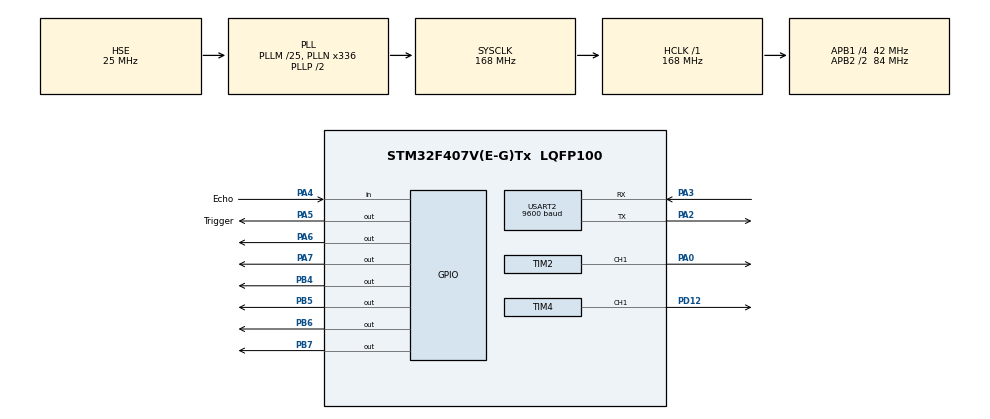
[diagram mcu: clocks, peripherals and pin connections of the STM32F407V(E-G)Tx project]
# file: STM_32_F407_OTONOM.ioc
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Mcu.Family=STM32F4
Mcu.Name=STM32F407V(E-G)Tx
Mcu.Package=LQFP100
NVIC.PriorityGroup=NVIC_PRIORITYGROUP_4
NVIC.TIM2_IRQn=true\:0\:0\:false\:false\:true\:true\:true\:true
NVIC.TIM4_IRQn=true\:0\:0\:false\:false\:true\:true\:true\:true
NVIC.USART2_IRQn=true\:0\:0\:false\:false\:true\:true\:true\:true
PA0-WKUP.Signal=S_TIM2_CH1_ETR
PA13.Mode=Serial_Wire
PA13.Signal=SYS_JTMS-SWDIO
PA14.Mode=Serial_Wire
PA14.Signal=SYS_JTCK-SWCLK
PA2.Mode=Asynchronous
PA2.Signal=USART2_TX
PA3.Mode=Asynchronous
PA3.Signal=USART2_RX
PA4.GPIO_Label=Echo
PA4.Signal=GPIO_Input
PA5.GPIO_Label=Trigger
PA5.Signal=GPIO_Output
PA6.Signal=GPIO_Output
PA7.Signal=GPIO_Output
PB4.Signal=GPIO_Output
PB5.Signal=GPIO_Output
PB6.Signal=GPIO_Output
PB7.Signal=GPIO_Output
PD12.Signal=S_TIM4_CH1
PH0-OSC_IN.Mode=HSE-External-Oscillator
PH0-OSC_IN.Signal=RCC_OSC_IN
PH1-OSC_OUT.Mode=HSE-External-Oscillator
PH1-OSC_OUT.Signal=RCC_OSC_OUT
ProjectManager.HeapSize=0x200
ProjectManager.StackSize=0x400
ProjectManager.TargetToolchain=STM32CubeIDE
RCC.48MHZClocksFreq_Value=84000000
RCC.AHBFreq_Value=168000000
RCC.APB1CLKDivider=RCC_HCLK_DIV4
RCC.APB1Freq_Value=42000000
RCC.APB1TimFreq_Value=84000000
RCC.APB2CLKDivider=RCC_HCLK_DIV2
RCC.APB2Freq_Value=84000000
RCC.APB2TimFreq_Value=168000000
RCC.CortexFreq_Value=168000000
RCC.HCLKFreq_Value=168000000
RCC.HSE_VALUE=25000000
RCC.HSI_VALUE=16000000
RCC.LSE_VALUE=32768
RCC.PLLM=25
RCC.PLLN=336
RCC.PLLSourceVirtual=RCC_PLLSOURCE_HSE
RCC.SYSCLKFreq_VALUE=168000000
RCC.SYSCLKSource=RCC_SYSCLKSOURCE_PLLCLK
RCC.VCOOutputFreq_Value=336000000
SH.S_TIM2_CH1_ETR.0=TIM2_CH1,PWM Generation1 CH1
SH.S_TIM4_CH1.0=TIM4_CH1,PWM Generation1 CH1
TIM2.Channel-PWM\ Generation1\ CH1=TIM_CHANNEL_1
TIM2.Period=65535-1
TIM2.Prescaler=168-1
TIM4.Channel-PWM\ Generation1\ CH1=TIM_CHANNEL_1
TIM4.Period=1000-1
TIM4.Prescaler=900-1
USART2.BaudRate=9600
USART2.VirtualMode=VM_ASYNC
VP_TIM1_VS_ClockSourceINT.Mode=Internal
VP_TIM2_VS_ClockSourceINT.Mode=Internal
VP_TIM4_VS_ClockSourceINT.Mode=Internal
board=custom

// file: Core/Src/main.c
/* USER CODE BEGIN Header */
/**
  ******************************************************************************
  * @file           : main.c
  * @brief          : Main program body
  ******************************************************************************
  * @attention
  *
  * Copyright (c) 2023 STMicroelectronics.
  * All rights reserved.
  *
  * This software is licensed under terms that can be found in the LICENSE file
  * in the root directory of this software component.
  * If no LICENSE file comes with this software, it is provided AS-IS.
  *
  ******************************************************************************
  */
/* USER CODE END Header */
#include "main.h"

TIM_HandleTypeDef htim1;
TIM_HandleTypeDef htim2;
TIM_HandleTypeDef htim4;

UART_HandleTypeDef huart2;

/* USER CODE BEGIN PV */
uint32_t sensor_time;
float distance = 0;

/* USER CODE END PV */

void SystemClock_Config(void);
static void MX_GPIO_Init(void);
static void MX_TIM4_Init(void);
static void MX_TIM2_Init(void);
static void MX_USART2_UART_Init(void);
static void MX_TIM1_Init(void);
/* USER CODE BEGIN PFP */
void delay(uint16_t us)
{
	__HAL_TIM_SET_COUNTER(&htim2,0);
	while(__HAL_TIM_GET_COUNTER(&htim2) < us);
}

float Sensor_Read()
{
	uint32_t time =0;

	HAL_GPIO_WritePin(Trigger_GPIO_Port, Trigger_Pin, GPIO_PIN_RESET);
	delay(2);
	HAL_GPIO_WritePin(Trigger_GPIO_Port, Trigger_Pin, GPIO_PIN_SET);
    delay(10);
    HAL_GPIO_WritePin(Trigger_GPIO_Port, Trigger_Pin, GPIO_PIN_RESET);

    while(!HAL_GPIO_ReadPin(Echo_GPIO_Port, Echo_Pin));
    while(HAL_GPIO_ReadPin(Echo_GPIO_Port, Echo_Pin))
    {
    	time++;
    	delay(1);
    }
	return time;
}

/* USER CODE END PFP */

int main(void)
{

  /* MCU Configuration--------------------------------------------------------*/

  /* Reset of all peripherals, Initializes the Flash interface and the Systick. */
  HAL_Init();

  /* Configure the system clock */
  SystemClock_Config();

  /* Initialize all configured peripherals */
  MX_GPIO_Init();
  MX_TIM4_Init();
  MX_TIM2_Init();
  MX_USART2_UART_Init();
  MX_TIM1_Init();
  /* USER CODE BEGIN 2 */

  HAL_TIM_PWM_Start(&htim4, TIM_CHANNEL_1);
  HAL_TIM_Base_Start(&htim2);

  /* USER CODE END 2 */

  /* Infinite loop */
  /* USER CODE BEGIN WHILE */
  while (1)
  {

	      sensor_time = Sensor_Read();
          distance = sensor_time * .034/2;

          HAL_GPIO_WritePin(GPIOB, GPIO_PIN_6, SET);

          HAL_GPIO_WritePin(GPIOB, GPIO_PIN_5, SET);

	      htim4.Instance->CCR1 = 10;

	  	  if(distance < 8)
	  	  {
	  		HAL_GPIO_WritePin(GPIOB, GPIO_PIN_7, RESET);
	  		HAL_GPIO_WritePin(GPIOB, GPIO_PIN_6, RESET);
	  		HAL_GPIO_WritePin(GPIOB, GPIO_PIN_4, RESET);
	  	    HAL_GPIO_WritePin(GPIOB, GPIO_PIN_5, RESET);
	  	    HAL_Delay(10);

	  	    HAL_GPIO_WritePin(GPIOA, GPIO_PIN_7, SET);
	  	    HAL_GPIO_WritePin(GPIOA, GPIO_PIN_6, SET);

	  	    HAL_GPIO_WritePin(GPIOB, GPIO_PIN_4, SET);
	  	    HAL_Delay(10);
	  	    HAL_GPIO_WritePin(GPIOB, GPIO_PIN_4, SET);

	  	  }

	  	    HAL_GPIO_WritePin(GPIOA, GPIO_PIN_7, RESET);
	  	    HAL_GPIO_WritePin(GPIOA, GPIO_PIN_6, RESET);

		    HAL_GPIO_WritePin(GPIOB, GPIO_PIN_4, RESET);
	  		HAL_GPIO_WritePin(GPIOB, GPIO_PIN_6, SET);
	  	    HAL_GPIO_WritePin(GPIOB, GPIO_PIN_5, SET);

	  	  htim4.Instance->CCR1 = 20;

	  	  sensor_time = Sensor_Read();
	      distance = sensor_time * .034/2;

//	      htim4.Instance->CCR1 = 10;
	 	  HAL_Delay(50);
		  if(distance < 8)
		  	  {
		  		HAL_GPIO_WritePin(GPIOB, GPIO_PIN_7, RESET);
		  		HAL_GPIO_WritePin(GPIOB, GPIO_PIN_6, RESET);
		  		HAL_GPIO_WritePin(GPIOB, GPIO_PIN_4, RESET);
		  	    HAL_GPIO_WritePin(GPIOB, GPIO_PIN_5, RESET);

		  	    HAL_GPIO_WritePin(GPIOB, GPIO_PIN_4, SET);

		  	    HAL_GPIO_WritePin(GPIOA, GPIO_PIN_7, SET);
		  	    HAL_GPIO_WritePin(GPIOA, GPIO_PIN_6, SET);

		  	  }

		    HAL_GPIO_WritePin(GPIOB, GPIO_PIN_4, RESET);
	  		HAL_GPIO_WritePin(GPIOB, GPIO_PIN_6, SET);
	  	    HAL_GPIO_WritePin(GPIOB, GPIO_PIN_5, SET);

	  	    HAL_GPIO_WritePin(GPIOA, GPIO_PIN_7, RESET);
	  	    HAL_GPIO_WritePin(GPIOA, GPIO_PIN_6, RESET);

	  	  htim4.Instance->CCR1 = 30;

	  	  sensor_time = Sensor_Read();
	      distance = sensor_time * .034/2;

	 	  htim4.Instance->CCR1 = 30;
	 	  HAL_Delay(50);

		  if(distance < 8)
		  	  {
		  		HAL_GPIO_WritePin(GPIOB, GPIO_PIN_7, RESET);
		  		HAL_GPIO_WritePin(GPIOB, GPIO_PIN_6, RESET);
		  		HAL_GPIO_WritePin(GPIOB, GPIO_PIN_4, RESET);
		  	    HAL_GPIO_WritePin(GPIOB, GPIO_PIN_5, RESET);

		  	    HAL_GPIO_WritePin(GPIOB, GPIO_PIN_4, SET);

		  	    HAL_GPIO_WritePin(GPIOA, GPIO_PIN_7, SET);
		  	    HAL_GPIO_WritePin(GPIOA, GPIO_PIN_6, SET);

		  	  }
		    HAL_GPIO_WritePin(GPIOB, GPIO_PIN_4, RESET);
	  		HAL_GPIO_WritePin(GPIOB, GPIO_PIN_6, SET);
	  	    HAL_GPIO_WritePin(GPIOB, GPIO_PIN_5, SET);

	  	    HAL_GPIO_WritePin(GPIOA, GPIO_PIN_7, RESET);
	  	    HAL_GPIO_WritePin(GPIOA, GPIO_PIN_6, RESET);

	  	  htim4.Instance->CCR1 = 30;

	  	  sensor_time = Sensor_Read();
	  	  distance = sensor_time * .034/2;

	  	  htim4.Instance->CCR1 = 30;
	      HAL_Delay(50);

		  if(distance < 8)
		  	  {
		  		HAL_GPIO_WritePin(GPIOB, GPIO_PIN_7, RESET);
		  		HAL_GPIO_WritePin(GPIOB, GPIO_PIN_6, RESET);
		  		HAL_GPIO_WritePin(GPIOB, GPIO_PIN_4, RESET);
		  	    HAL_GPIO_WritePin(GPIOB, GPIO_PIN_5, RESET);

		  	    HAL_GPIO_WritePin(GPIOA, GPIO_PIN_7, SET);
		  	    HAL_GPIO_WritePin(GPIOA, GPIO_PIN_6, SET);

		  	    HAL_GPIO_WritePin(GPIOB, GPIO_PIN_4, SET);
		  	    HAL_Delay(10);

		  	  }

	  	    HAL_GPIO_WritePin(GPIOA, GPIO_PIN_7, RESET);
	  	    HAL_GPIO_WritePin(GPIOA, GPIO_PIN_6, RESET);

		    HAL_GPIO_WritePin(GPIOB, GPIO_PIN_4, RESET);
	  		HAL_GPIO_WritePin(GPIOB, GPIO_PIN_6, SET);
	  	    HAL_GPIO_WritePin(GPIOB, GPIO_PIN_5, SET);

	  	  htim4.Instance->CCR1 = 40;
	  	  sensor_time = Sensor_Read();
	      distance = sensor_time * .034/2;

	 	  htim4.Instance->CCR1 = 40;
	 	  HAL_Delay(10);

	 	 if(distance < 8)
	 		  	  {
	 		  		HAL_GPIO_WritePin(GPIOB, GPIO_PIN_7, RESET);
	 		  		HAL_GPIO_WritePin(GPIOB, GPIO_PIN_6, RESET);
	 		  		HAL_GPIO_WritePin(GPIOB, GPIO_PIN_4, RESET);
	 		  	    HAL_GPIO_WritePin(GPIOB, GPIO_PIN_5, RESET);

			  	    HAL_GPIO_WritePin(GPIOA, GPIO_PIN_6, SET);
			  	    HAL_GPIO_WritePin(GPIOA, GPIO_PIN_7, SET);

	 		  	    HAL_GPIO_WritePin(GPIOB, GPIO_PIN_4, SET);
	 		  	    HAL_Delay(100);
	 		  	    HAL_GPIO_WritePin(GPIOB, GPIO_PIN_4, SET);

	 		  	  }

		            HAL_GPIO_WritePin(GPIOB, GPIO_PIN_4, RESET);
	 		  		HAL_GPIO_WritePin(GPIOB, GPIO_PIN_6, SET);
	 		  	    HAL_GPIO_WritePin(GPIOB, GPIO_PIN_5, SET);

			  	    HAL_GPIO_WritePin(GPIOA, GPIO_PIN_7, RESET);
			  	    HAL_GPIO_WritePin(GPIOA, GPIO_PIN_6, RESET);

		  htim4.Instance->CCR1 = 40;
	  	  sensor_time = Sensor_Read();
	      distance = sensor_time * .034/2;

	      if(distance < 8)
	     	  	  {
	     	  		HAL_GPIO_WritePin(GPIOB, GPIO_PIN_7, RESET);
	     	  		HAL_GPIO_WritePin(GPIOB, GPIO_PIN_6, RESET);
	     	  		HAL_GPIO_WritePin(GPIOB, GPIO_PIN_4, RESET);
	     	  	    HAL_GPIO_WritePin(GPIOB, GPIO_PIN_5, RESET);

			  	    HAL_GPIO_WritePin(GPIOA, GPIO_PIN_6, SET);
			  	    HAL_GPIO_WritePin(GPIOA, GPIO_PIN_7, SET);

	    	  	    HAL_GPIO_WritePin(GPIOB, GPIO_PIN_4, SET);
	    	  	    HAL_Delay(100);
	     	  	    HAL_GPIO_WritePin(GPIOB, GPIO_PIN_4, SET);

	     	  	  }

	  	            HAL_GPIO_WritePin(GPIOA, GPIO_PIN_7, RESET);
	  	            HAL_GPIO_WritePin(GPIOA, GPIO_PIN_6, RESET);

		            HAL_GPIO_WritePin(GPIOB, GPIO_PIN_4, RESET);
	     	  		HAL_GPIO_WritePin(GPIOB, GPIO_PIN_6, SET);
	     	  	    HAL_GPIO_WritePin(GPIOB, GPIO_PIN_5, SET);

	 	  htim4.Instance->CCR1 = 50;
	 	  HAL_Delay(10);

		  if(distance < 8)
		  	  {
		  		HAL_GPIO_WritePin(GPIOB, GPIO_PIN_6, RESET);
		  	    HAL_GPIO_WritePin(GPIOB, GPIO_PIN_5, RESET);
		  	    HAL_Delay(100);

		  	    HAL_GPIO_WritePin(GPIOA, GPIO_PIN_6, SET);
		  	    HAL_GPIO_WritePin(GPIOA, GPIO_PIN_7, SET);

		  	    HAL_GPIO_WritePin(GPIOB, GPIO_PIN_4, SET);
		  	    HAL_Delay(100);
		  	    HAL_GPIO_WritePin(GPIOB, GPIO_PIN_4, SET);

		  	  }
	  	    HAL_GPIO_WritePin(GPIOA, GPIO_PIN_7, RESET);
	  	    HAL_GPIO_WritePin(GPIOA, GPIO_PIN_6, RESET);

	  		HAL_GPIO_WritePin(GPIOB, GPIO_PIN_6, SET);
		    HAL_GPIO_WritePin(GPIOB, GPIO_PIN_4, RESET);
	  	    HAL_GPIO_WritePin(GPIOB, GPIO_PIN_5, SET);

	  	  htim4.Instance->CCR1 = 60;
	  	  sensor_time = Sensor_Read();
	      distance = sensor_time * .034/2;

	 	  htim4.Instance->CCR1 = 60;
	 	  HAL_Delay(10);
		  if(distance < 8)
		  	  {
		  		HAL_GPIO_WritePin(GPIOB, GPIO_PIN_6, RESET);
		  	    HAL_GPIO_WritePin(GPIOB, GPIO_PIN_5, RESET);
		  	    HAL_Delay(100);

		  	    HAL_GPIO_WritePin(GPIOA, GPIO_PIN_6, SET);
		  	    HAL_GPIO_WritePin(GPIOA, GPIO_PIN_7, SET);

		  	    HAL_GPIO_WritePin(GPIOB, GPIO_PIN_4, SET);
		  	    HAL_Delay(100);
		  	    HAL_GPIO_WritePin(GPIOB, GPIO_PIN_4, SET);

		  	  }
	  	    HAL_GPIO_WritePin(GPIOA, GPIO_PIN_7, RESET);
	  	    HAL_GPIO_WritePin(GPIOA, GPIO_PIN_6, RESET);

		    HAL_GPIO_WritePin(GPIOB, GPIO_PIN_4, RESET);
	  		HAL_GPIO_WritePin(GPIOB, GPIO_PIN_6, SET);
	  	    HAL_GPIO_WritePin(GPIOB, GPIO_PIN_5, SET);

	  	  htim4.Instance->CCR1 = 70;

	  	  sensor_time = Sensor_Read();
	      distance = sensor_time * .034/2;

	 	  htim4.Instance->CCR1 = 70;
	 	  HAL_Delay(50);
		  if(distance < 8)
		  	  {
		  		HAL_GPIO_WritePin(GPIOB, GPIO_PIN_7, RESET);
		  		HAL_GPIO_WritePin(GPIOB, GPIO_PIN_6, RESET);
		  		HAL_GPIO_WritePin(GPIOB, GPIO_PIN_4, RESET);
		  	    HAL_GPIO_WritePin(GPIOB, GPIO_PIN_5, RESET);
		  	    HAL_Delay(100);

		  	    HAL_GPIO_WritePin(GPIOA, GPIO_PIN_6, SET);
		  	    HAL_GPIO_WritePin(GPIOA, GPIO_PIN_7, SET);

		  	    HAL_GPIO_WritePin(GPIOB, GPIO_PIN_4, SET);
		  	    HAL_Delay(100);
		  	    HAL_GPIO_WritePin(GPIOB, GPIO_PIN_4, SET);

		  	  }

	  	    HAL_GPIO_WritePin(GPIOA, GPIO_PIN_7, RESET);
	  	    HAL_GPIO_WritePin(GPIOA, GPIO_PIN_6, RESET);

		    HAL_GPIO_WritePin(GPIOB, GPIO_PIN_4, RESET);
	  		HAL_GPIO_WritePin(GPIOB, GPIO_PIN_6, SET);
	  	    HAL_GPIO_WritePin(GPIOB, GPIO_PIN_5, SET);

	  	  htim4.Instance->CCR1 = 70;
	  	  sensor_time = Sensor_Read();
	      distance = sensor_time * .034/2;

	  	  sensor_time = Sensor_Read();
	      distance = sensor_time * .034/2;

	  	  htim4.Instance->CCR1 = 60;
	  	  HAL_Delay(10);

	  	  sensor_time = Sensor_Read();
	      distance = sensor_time * .034/2;

	      if(distance < 8)
	     	  	  {
	     	  		HAL_GPIO_WritePin(GPIOB, GPIO_PIN_7, RESET);
	     	  		HAL_GPIO_WritePin(GPIOB, GPIO_PIN_6, RESET);
	     	  		HAL_GPIO_WritePin(GPIOB, GPIO_PIN_4, RESET);
	     	  	    HAL_GPIO_WritePin(GPIOB, GPIO_PIN_5, RESET);
	     	  	    HAL_Delay(100);

			  	    HAL_GPIO_WritePin(GPIOA, GPIO_PIN_6, SET);
			  	    HAL_GPIO_WritePin(GPIOA, GPIO_PIN_7, SET);

	    	  	    HAL_GPIO_WritePin(GPIOB, GPIO_PIN_4, SET);
	    	  	    HAL_Delay(100);
	     	  	    HAL_GPIO_WritePin(GPIOB, GPIO_PIN_4, SET);

	     	  	  }
	  	           HAL_GPIO_WritePin(GPIOA, GPIO_PIN_7, RESET);
	  	           HAL_GPIO_WritePin(GPIOA, GPIO_PIN_6, RESET);

		            HAL_GPIO_WritePin(GPIOB, GPIO_PIN_4, RESET);
	     	  		HAL_GPIO_WritePin(GPIOB, GPIO_PIN_6, SET);
	     	  	    HAL_GPIO_WritePin(GPIOB, GPIO_PIN_5, SET);

	  	  HAL_Delay(50 );
	  	  htim4.Instance->CCR1 = 50;

	  	  sensor_time = Sensor_Read();
	      distance = sensor_time * .034/2;

	      if(distance < 8)
	     	  	  {
	     	  		HAL_GPIO_WritePin(GPIOB, GPIO_PIN_7, RESET);
	     	  		HAL_GPIO_WritePin(GPIOB, GPIO_PIN_6, RESET);
	     	  		HAL_GPIO_WritePin(GPIOB, GPIO_PIN_4, RESET);
	     	  	    HAL_GPIO_WritePin(GPIOB, GPIO_PIN_5, RESET);
	     	  	    HAL_Delay(100);

			  	    HAL_GPIO_WritePin(GPIOA, GPIO_PIN_6, SET);
			  	    HAL_GPIO_WritePin(GPIOA, GPIO_PIN_7, SET);

	    	  	    HAL_GPIO_WritePin(GPIOB, GPIO_PIN_4, SET);
	    	  	    HAL_Delay(100);
	     	  	    HAL_GPIO_WritePin(GPIOB, GPIO_PIN_4, SET);

	     	  	  }

	  	           HAL_GPIO_WritePin(GPIOA, GPIO_PIN_7, RESET);
	  	           HAL_GPIO_WritePin(GPIOA, GPIO_PIN_6, RESET);

		           HAL_GPIO_WritePin(GPIOB, GPIO_PIN_4, RESET);
	     	  	   HAL_GPIO_WritePin(GPIOB, GPIO_PIN_6, SET);
	     	  	   HAL_GPIO_WritePin(GPIOB, GPIO_PIN_5, SET);

	  	  HAL_Delay(50);
	   	  htim4.Instance->CCR1 = 40;

	 	  sensor_time = Sensor_Read();
		  distance = sensor_time * .034/2;

		  if(distance < 8)
		  	  {
		  		HAL_GPIO_WritePin(GPIOB, GPIO_PIN_7, RESET);
		  		HAL_GPIO_WritePin(GPIOB, GPIO_PIN_6, RESET);
		  		HAL_GPIO_WritePin(GPIOB, GPIO_PIN_4, RESET);
		  	    HAL_GPIO_WritePin(GPIOB, GPIO_PIN_5, RESET);
		  	    HAL_Delay(100);

		  	    HAL_GPIO_WritePin(GPIOA, GPIO_PIN_6, SET);
		  	    HAL_GPIO_WritePin(GPIOA, GPIO_PIN_7, SET);

		  	    HAL_GPIO_WritePin(GPIOB, GPIO_PIN_4, SET);
		  	    HAL_Delay(100);
		  	    HAL_GPIO_WritePin(GPIOB, GPIO_PIN_4, SET);

		  	  }
	  	    HAL_GPIO_WritePin(GPIOA, GPIO_PIN_7, RESET);
	  	    HAL_GPIO_WritePin(GPIOA, GPIO_PIN_6, RESET);

		    HAL_GPIO_WritePin(GPIOB, GPIO_PIN_4, RESET);
	  		HAL_GPIO_WritePin(GPIOB, GPIO_PIN_6, SET);
	  	    HAL_GPIO_WritePin(GPIOB, GPIO_PIN_5, SET);

	  	  sensor_time = Sensor_Read();
	      distance = sensor_time * .034/2;

	   	  htim4.Instance->CCR1 = 20;
	   	  HAL_Delay(50);

	   	 if(distance < 8)
	   		  	  {
	   		  		HAL_GPIO_WritePin(GPIOB, GPIO_PIN_7, RESET);
	   		  		HAL_GPIO_WritePin(GPIOB, GPIO_PIN_6, RESET);
	   		  		HAL_GPIO_WritePin(GPIOB, GPIO_PIN_4, RESET);
	   		  	    HAL_GPIO_WritePin(GPIOB, GPIO_PIN_5, RESET);
	   		  	    HAL_Delay(100);

			  	    HAL_GPIO_WritePin(GPIOA, GPIO_PIN_6, SET);
			  	    HAL_GPIO_WritePin(GPIOA, GPIO_PIN_7, SET);

	   		  	    HAL_GPIO_WritePin(GPIOB, GPIO_PIN_4, SET);
	   		  	    HAL_Delay(100);
	   		  	    HAL_GPIO_WritePin(GPIOB, GPIO_PIN_4, SET);

	   		  	  }
	  	            HAL_GPIO_WritePin(GPIOA, GPIO_PIN_7, RESET);
	  	            HAL_GPIO_WritePin(GPIOA, GPIO_PIN_6, RESET);

		            HAL_GPIO_WritePin(GPIOB, GPIO_PIN_4, RESET);
	   		  		HAL_GPIO_WritePin(GPIOB, GPIO_PIN_6, SET);
	   		  	    HAL_GPIO_WritePin(GPIOB, GPIO_PIN_5, SET);

	  	  sensor_time = Sensor_Read();
	      distance = sensor_time * .034/2;

	   	  htim4.Instance->CCR1 = 10;
	   	  HAL_Delay(10);

		  if(distance < 8)
		  	  {
		  		HAL_GPIO_WritePin(GPIOB, GPIO_PIN_7, RESET);
		  		HAL_GPIO_WritePin(GPIOB, GPIO_PIN_6, RESET);
		  		HAL_GPIO_WritePin(GPIOB, GPIO_PIN_4, RESET);
		  	    HAL_GPIO_WritePin(GPIOB, GPIO_PIN_5, RESET);
		  	    HAL_Delay(100);

		  	    HAL_GPIO_WritePin(GPIOA, GPIO_PIN_7, SET);
		  	    HAL_GPIO_WritePin(GPIOA, GPIO_PIN_6, SET);

		  	    HAL_GPIO_WritePin(GPIOB, GPIO_PIN_4, SET);
		  	    HAL_Delay(100);
		  	    HAL_GPIO_WritePin(GPIOB, GPIO_PIN_4, SET);

		  	  }
	  	    HAL_GPIO_WritePin(GPIOA, GPIO_PIN_7, RESET);
	  	    HAL_GPIO_WritePin(GPIOA, GPIO_PIN_6, RESET);

		    HAL_GPIO_WritePin(GPIOB, GPIO_PIN_4, RESET);
	  		HAL_GPIO_WritePin(GPIOB, GPIO_PIN_6, SET);
	  	    HAL_GPIO_WritePin(GPIOB, GPIO_PIN_5, SET);

    /* USER CODE END WHILE */

  }
}

void SystemClock_Config(void)
{
  RCC_OscInitTypeDef RCC_OscInitStruct = {0};
  RCC_ClkInitTypeDef RCC_ClkInitStruct = {0};

  /** Configure the main internal regulator output voltage
  */
  __HAL_RCC_PWR_CLK_ENABLE();
  __HAL_PWR_VOLTAGESCALING_CONFIG(PWR_REGULATOR_VOLTAGE_SCALE1);

  /** Initializes the RCC Oscillators according to the specified parameters
  * in the RCC_OscInitTypeDef structure.
  */
  RCC_OscInitStruct.OscillatorType = RCC_OSCILLATORTYPE_HSE;
  RCC_OscInitStruct.HSEState = RCC_HSE_ON;
  RCC_OscInitStruct.PLL.PLLState = RCC_PLL_ON;
  RCC_OscInitStruct.PLL.PLLSource = RCC_PLLSOURCE_HSE;
  RCC_OscInitStruct.PLL.PLLM = 25;
  RCC_OscInitStruct.PLL.PLLN = 336;
  RCC_OscInitStruct.PLL.PLLP = RCC_PLLP_DIV2;
  RCC_OscInitStruct.PLL.PLLQ = 4;
  if (HAL_RCC_OscConfig(&RCC_OscInitStruct) != HAL_OK)
  {
    Error_Handler();
  }

  /** Initializes the CPU, AHB and APB buses clocks
  */
  RCC_ClkInitStruct.ClockType = RCC_CLOCKTYPE_HCLK|RCC_CLOCKTYPE_SYSCLK
                              |RCC_CLOCKTYPE_PCLK1|RCC_CLOCKTYPE_PCLK2;
  RCC_ClkInitStruct.SYSCLKSource = RCC_SYSCLKSOURCE_PLLCLK;
  RCC_ClkInitStruct.AHBCLKDivider = RCC_SYSCLK_DIV1;
  RCC_ClkInitStruct.APB1CLKDivider = RCC_HCLK_DIV4;
  RCC_ClkInitStruct.APB2CLKDivider = RCC_HCLK_DIV2;

  if (HAL_RCC_ClockConfig(&RCC_ClkInitStruct, FLASH_LATENCY_5) != HAL_OK)
  {
    Error_Handler();
  }
}

static void MX_TIM1_Init(void)
{

  TIM_ClockConfigTypeDef sClockSourceConfig = {0};
  TIM_MasterConfigTypeDef sMasterConfig = {0};

  htim1.Instance = TIM1;
  htim1.Init.Prescaler = 0;
  htim1.Init.CounterMode = TIM_COUNTERMODE_UP;
  htim1.Init.Period = 65535;
  htim1.Init.ClockDivision = TIM_CLOCKDIVISION_DIV1;
  htim1.Init.RepetitionCounter = 0;
  htim1.Init.AutoReloadPreload = TIM_AUTORELOAD_PRELOAD_DISABLE;
  if (HAL_TIM_Base_Init(&htim1) != HAL_OK)
  {
    Error_Handler();
  }
  sClockSourceConfig.ClockSource = TIM_CLOCKSOURCE_INTERNAL;
  if (HAL_TIM_ConfigClockSource(&htim1, &sClockSourceConfig) != HAL_OK)
  {
    Error_Handler();
  }
  sMasterConfig.MasterOutputTrigger = TIM_TRGO_RESET;
  sMasterConfig.MasterSlaveMode = TIM_MASTERSLAVEMODE_DISABLE;
  if (HAL_TIMEx_MasterConfigSynchronization(&htim1, &sMasterConfig) != HAL_OK)
  {
    Error_Handler();
  }

}

static void MX_TIM2_Init(void)
{

  TIM_ClockConfigTypeDef sClockSourceConfig = {0};
  TIM_MasterConfigTypeDef sMasterConfig = {0};
  TIM_OC_InitTypeDef sConfigOC = {0};

  htim2.Instance = TIM2;
  htim2.Init.Prescaler = 168-1;
  htim2.Init.CounterMode = TIM_COUNTERMODE_UP;
  htim2.Init.Period = 65535-1;
  htim2.Init.ClockDivision = TIM_CLOCKDIVISION_DIV1;
  htim2.Init.AutoReloadPreload = TIM_AUTORELOAD_PRELOAD_DISABLE;
  if (HAL_TIM_Base_Init(&htim2) != HAL_OK)
  {
    Error_Handler();
  }
  sClockSourceConfig.ClockSource = TIM_CLOCKSOURCE_INTERNAL;
  if (HAL_TIM_ConfigClockSource(&htim2, &sClockSourceConfig) != HAL_OK)
  {
    Error_Handler();
  }
  if (HAL_TIM_PWM_Init(&htim2) != HAL_OK)
  {
    Error_Handler();
  }
  sMasterConfig.MasterOutputTrigger = TIM_TRGO_RESET;
  sMasterConfig.MasterSlaveMode = TIM_MASTERSLAVEMODE_DISABLE;
  if (HAL_TIMEx_MasterConfigSynchronization(&htim2, &sMasterConfig) != HAL_OK)
  {
    Error_Handler();
  }
  sConfigOC.OCMode = TIM_OCMODE_PWM1;
  sConfigOC.Pulse = 0;
  sConfigOC.OCPolarity = TIM_OCPOLARITY_HIGH;
  sConfigOC.OCFastMode = TIM_OCFAST_DISABLE;
  if (HAL_TIM_PWM_ConfigChannel(&htim2, &sConfigOC, TIM_CHANNEL_1) != HAL_OK)
  {
    Error_Handler();
  }
  HAL_TIM_MspPostInit(&htim2);

}

static void MX_TIM4_Init(void)
{

  TIM_ClockConfigTypeDef sClockSourceConfig = {0};
  TIM_MasterConfigTypeDef sMasterConfig = {0};
  TIM_OC_InitTypeDef sConfigOC = {0};

  htim4.Instance = TIM4;
  htim4.Init.Prescaler = 900-1;
  htim4.Init.CounterMode = TIM_COUNTERMODE_UP;
  htim4.Init.Period = 1000-1;
  htim4.Init.ClockDivision = TIM_CLOCKDIVISION_DIV1;
  htim4.Init.AutoReloadPreload = TIM_AUTORELOAD_PRELOAD_DISABLE;
  if (HAL_TIM_Base_Init(&htim4) != HAL_OK)
  {
    Error_Handler();
  }
  sClockSourceConfig.ClockSource = TIM_CLOCKSOURCE_INTERNAL;
  if (HAL_TIM_ConfigClockSource(&htim4, &sClockSourceConfig) != HAL_OK)
  {
    Error_Handler();
  }
  if (HAL_TIM_PWM_Init(&htim4) != HAL_OK)
  {
    Error_Handler();
  }
  sMasterConfig.MasterOutputTrigger = TIM_TRGO_RESET;
  sMasterConfig.MasterSlaveMode = TIM_MASTERSLAVEMODE_DISABLE;
  if (HAL_TIMEx_MasterConfigSynchronization(&htim4, &sMasterConfig) != HAL_OK)
  {
    Error_Handler();
  }
  sConfigOC.OCMode = TIM_OCMODE_PWM1;
  sConfigOC.Pulse = 0;
  sConfigOC.OCPolarity = TIM_OCPOLARITY_HIGH;
  sConfigOC.OCFastMode = TIM_OCFAST_DISABLE;
  if (HAL_TIM_PWM_ConfigChannel(&htim4, &sConfigOC, TIM_CHANNEL_1) != HAL_OK)
  {
    Error_Handler();
  }
  HAL_TIM_MspPostInit(&htim4);

}

static void MX_USART2_UART_Init(void)
{

  huart2.Instance = USART2;
  huart2.Init.BaudRate = 9600;
  huart2.Init.WordLength = UART_WORDLENGTH_8B;
  huart2.Init.StopBits = UART_STOPBITS_1;
  huart2.Init.Parity = UART_PARITY_NONE;
  huart2.Init.Mode = UART_MODE_TX_RX;
  huart2.Init.HwFlowCtl = UART_HWCONTROL_NONE;
  huart2.Init.OverSampling = UART_OVERSAMPLING_16;
  if (HAL_UART_Init(&huart2) != HAL_OK)
  {
    Error_Handler();
  }

}

static void MX_GPIO_Init(void)
{
  GPIO_InitTypeDef GPIO_InitStruct = {0};

  /* GPIO Ports Clock Enable */
  __HAL_RCC_GPIOH_CLK_ENABLE();
  __HAL_RCC_GPIOA_CLK_ENABLE();
  __HAL_RCC_GPIOD_CLK_ENABLE();
  __HAL_RCC_GPIOB_CLK_ENABLE();

  /*Configure GPIO pin Output Level */
  HAL_GPIO_WritePin(GPIOA, Trigger_Pin|GPIO_PIN_6|GPIO_PIN_7, GPIO_PIN_RESET);

  /*Configure GPIO pin Output Level */
  HAL_GPIO_WritePin(GPIOB, GPIO_PIN_4|GPIO_PIN_5|GPIO_PIN_6|GPIO_PIN_7, GPIO_PIN_RESET);

  /*Configure GPIO pin : Echo_Pin */
  GPIO_InitStruct.Pin = Echo_Pin;
  GPIO_InitStruct.Mode = GPIO_MODE_INPUT;
  GPIO_InitStruct.Pull = GPIO_NOPULL;
  HAL_GPIO_Init(Echo_GPIO_Port, &GPIO_InitStruct);

  /*Configure GPIO pins : Trigger_Pin PA6 PA7 */
  GPIO_InitStruct.Pin = Trigger_Pin|GPIO_PIN_6|GPIO_PIN_7;
  GPIO_InitStruct.Mode = GPIO_MODE_OUTPUT_PP;
  GPIO_InitStruct.Pull = GPIO_NOPULL;
  GPIO_InitStruct.Speed = GPIO_SPEED_FREQ_LOW;
  HAL_GPIO_Init(GPIOA, &GPIO_InitStruct);

  /*Configure GPIO pins : PB4 PB5 PB6 PB7 */
  GPIO_InitStruct.Pin = GPIO_PIN_4|GPIO_PIN_5|GPIO_PIN_6|GPIO_PIN_7;
  GPIO_InitStruct.Mode = GPIO_MODE_OUTPUT_PP;
  GPIO_InitStruct.Pull = GPIO_NOPULL;
  GPIO_InitStruct.Speed = GPIO_SPEED_FREQ_LOW;
  HAL_GPIO_Init(GPIOB, &GPIO_InitStruct);

}

void Error_Handler(void)
{
  __disable_irq();
  while (1)
  {
  }
}
